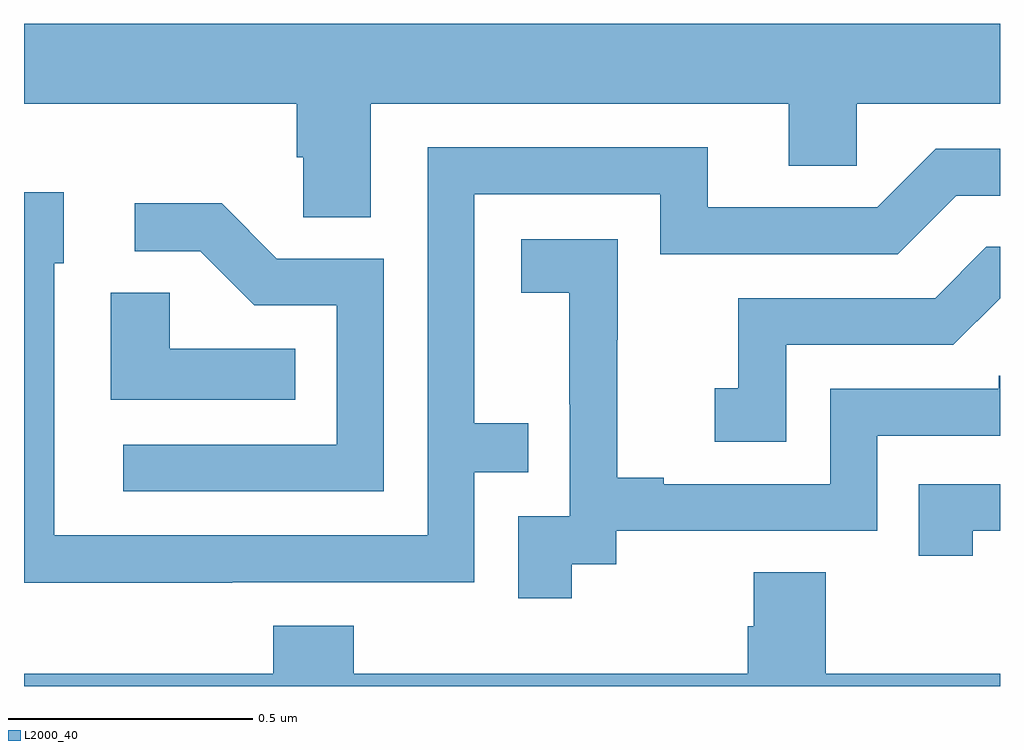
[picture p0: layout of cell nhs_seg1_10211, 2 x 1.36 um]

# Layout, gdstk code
import gdstk
lib = gdstk.Library(unit=1e-6, precision=1e-09)
def P(c, l, *ps):  # polygons
    for p in ps: c.add(gdstk.Polygon(p, *l))
L2000_40 = (2000, 40)

nhs_seg1_10211 = lib.new_cell('nhs_seg1_10211')
P(nhs_seg1_10211, L2000_40, [(238.711,558.392),(239.567,558.392),(239.567,558.265),(239.706,558.265),(239.706,558.392),(240,558.392),(240,558.556),(238,558.556),(238,558.392),(238.559,558.392),(238.559,558.283),(238.572,558.283),(238.572,558.16),(238.711,558.16)],
  [(238.427,557.412),(238.923,557.412),(238.923,557.637),(239.033,557.637),(239.033,557.738),(238.923,557.738),(238.923,558.207),(239.304,558.207),(239.304,558.084),(239.79,558.084),(239.91,558.204),(240,558.204),(240,558.3),(239.868,558.3),(239.748,558.18),(239.401,558.18),(239.401,558.303),(238.827,558.303),(238.827,557.508),(238.062,557.508),(238.062,558.066),(238.081,558.066),(238.081,558.211),(238,558.211),(238,557.411),(238.427,557.411)],
  [(238.737,558.075),(238.518,558.075),(238.405,558.188),(238.227,558.188),(238.227,558.09),(238.361,558.09),(238.472,557.979),(238.641,557.979),(238.641,557.694),(238.203,557.694),(238.203,557.598),(238.737,557.598)],
  [(239.122,557.449),(239.214,557.449),(239.214,557.517),(239.748,557.517),(239.748,557.712),(240,557.712),(240,557.835),(239.997,557.835),(239.997,557.808),(239.652,557.808),(239.652,557.613),(239.311,557.613),(239.311,557.626),(239.216,557.626),(239.216,557.909),(239.217,557.909),(239.217,558.115),(239.019,558.115),(239.019,558.005),(239.117,558.005),(239.117,557.777),(239.118,557.777),(239.118,557.547),(239.013,557.547),(239.013,557.379),(239.122,557.379)],
  [(239.562,557.898),(239.904,557.898),(240,557.994),(240,558.099),(239.972,558.099),(239.867,557.994),(239.464,557.994),(239.464,557.809),(239.415,557.809),(239.415,557.7),(239.562,557.7)],
  [(238.556,557.89),(238.299,557.89),(238.299,558.005),(238.178,558.005),(238.178,557.786),(238.556,557.786)],
  [(239.944,557.517),(240,557.517),(240,557.613),(239.833,557.613),(239.833,557.466),(239.944,557.466)],
  [(240,557.224),(239.643,557.224),(239.643,557.432),(239.495,557.432),(239.495,557.322),(239.483,557.322),(239.483,557.224),(238.676,557.224),(238.676,557.323),(238.511,557.323),(238.511,557.224),(238,557.224),(238,557.199),(240,557.199)])

lib.write_gds('nhs_seg1_10211.gds')
